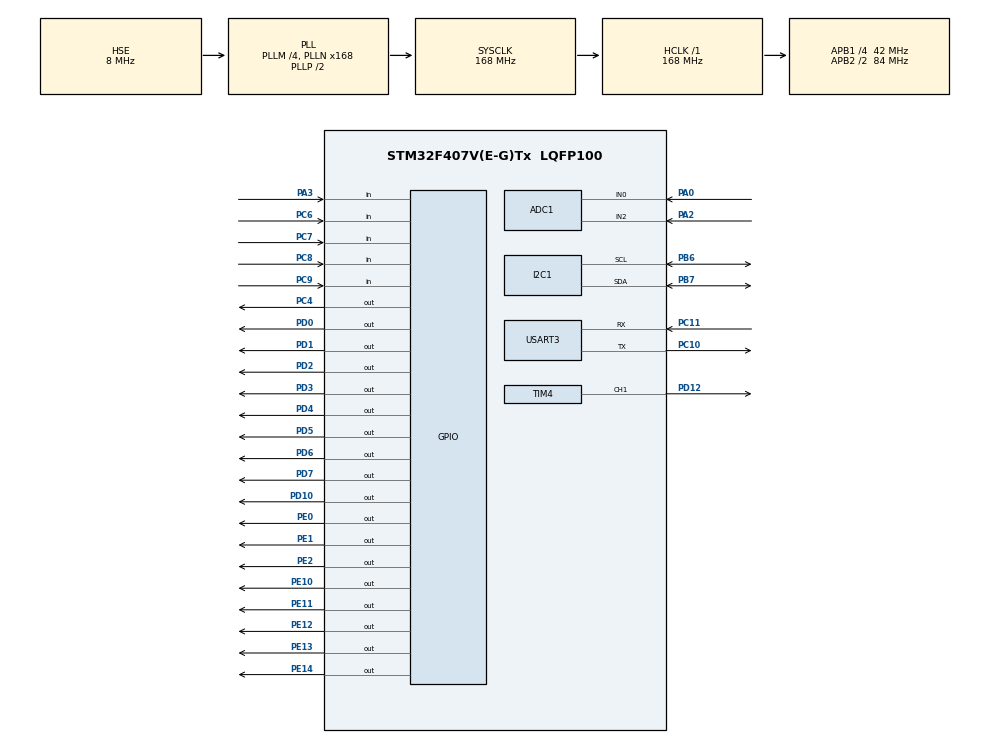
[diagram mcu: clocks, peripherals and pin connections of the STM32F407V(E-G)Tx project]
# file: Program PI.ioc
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ADC1.Channel-0\#ChannelRegularConversion=ADC_CHANNEL_0
ADC1.ContinuousConvMode=DISABLE
ADC1.DMAContinuousRequests=DISABLE
ADC1.NbrOfConversion=1
ADC1.NbrOfConversionFlag=1
ADC1.Rank-0\#ChannelRegularConversion=1
ADC1.SamplingTime-0\#ChannelRegularConversion=ADC_SAMPLETIME_480CYCLES
ADC1.ScanConvMode=DISABLE
ADC1.master=1
Mcu.Family=STM32F4
Mcu.Name=STM32F407V(E-G)Tx
Mcu.Package=LQFP100
NVIC.PriorityGroup=NVIC_PRIORITYGROUP_4
PA0-WKUP.Signal=ADCx_IN0
PA13.Mode=Serial_Wire
PA13.Signal=SYS_JTMS-SWDIO
PA14.Mode=Serial_Wire
PA14.Signal=SYS_JTCK-SWCLK
PA2.Signal=ADCx_IN2
PA3.GPIO_PuPd=GPIO_PULLUP
PA3.Signal=GPIO_Input
PB6.Mode=I2C
PB6.Signal=I2C1_SCL
PB7.Mode=I2C
PB7.Signal=I2C1_SDA
PC10.Mode=Asynchronous
PC10.Signal=USART3_TX
PC11.Mode=Asynchronous
PC11.Signal=USART3_RX
PC4.GPIO_PuPd=GPIO_PULLUP
PC4.Signal=GPIO_Output
PC6.Signal=GPIO_Input
PC7.Signal=GPIO_Input
PC8.Signal=GPIO_Input
PC9.Signal=GPIO_Input
PD0.Signal=GPIO_Output
PD1.Signal=GPIO_Output
PD10.Signal=GPIO_Output
PD12.GPIO_Speed=GPIO_SPEED_FREQ_VERY_HIGH
PD12.Signal=S_TIM4_CH1
PD2.Signal=GPIO_Output
PD3.Signal=GPIO_Output
PD4.Signal=GPIO_Output
PD5.Signal=GPIO_Output
PD6.Signal=GPIO_Output
PD7.Signal=GPIO_Output
PE0.Signal=GPIO_Output
PE1.Signal=GPIO_Output
PE10.Signal=GPIO_Output
PE11.Signal=GPIO_Output
PE12.Signal=GPIO_Output
PE13.GPIO_PuPd=GPIO_PULLUP
PE13.PinState=GPIO_PIN_RESET
PE13.Signal=GPIO_Output
PE14.Signal=GPIO_Output
PE2.Signal=GPIO_Output
PH0-OSC_IN.Mode=HSE-External-Oscillator
PH0-OSC_IN.Signal=RCC_OSC_IN
PH1-OSC_OUT.Mode=HSE-External-Oscillator
PH1-OSC_OUT.Signal=RCC_OSC_OUT
ProjectManager.HeapSize=0x200
ProjectManager.StackSize=0x400
ProjectManager.TargetToolchain=MDK-ARM V5
RCC.48MHZClocksFreq_Value=84000000
RCC.AHBFreq_Value=168000000
RCC.APB1CLKDivider=RCC_HCLK_DIV4
RCC.APB1Freq_Value=42000000
RCC.APB1TimFreq_Value=84000000
RCC.APB2CLKDivider=RCC_HCLK_DIV2
RCC.APB2Freq_Value=84000000
RCC.APB2TimFreq_Value=168000000
RCC.CortexFreq_Value=168000000
RCC.HCLKFreq_Value=168000000
RCC.HSE_VALUE=8000000
RCC.HSI_VALUE=16000000
RCC.LSE_VALUE=32768
RCC.PLLM=4
RCC.PLLN=168
RCC.PLLSourceVirtual=RCC_PLLSOURCE_HSE
RCC.SYSCLKFreq_VALUE=168000000
RCC.SYSCLKSource=RCC_SYSCLKSOURCE_PLLCLK
RCC.VCOOutputFreq_Value=336000000
SH.ADCx_IN0.0=ADC1_IN0,IN0
SH.ADCx_IN2.0=ADC1_IN2,IN2
SH.S_TIM4_CH1.0=TIM4_CH1,PWM Generation1 CH1
TIM4.Channel-PWM\ Generation1\ CH1=TIM_CHANNEL_1
TIM4.Period=2099
TIM4.Pulse-PWM\ Generation1\ CH1=5000
USART3.VirtualMode=VM_ASYNC
board=TUGAS AKHIR MOHAMMAD AGUNG DIRMAWAN

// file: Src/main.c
/* USER CODE BEGIN Header */
/**
  ******************************************************************************
  * @file           : main.c
  * @brief          : Main program body
  ******************************************************************************
  * @attention
  *
  * Copyright (c) 2023 STMicroelectronics.
  * All rights reserved.
  *
  * This software is licensed under terms that can be found in the LICENSE file
  * in the root directory of this software component.
  * If no LICENSE file comes with this software, it is provided AS-IS.
  *
  ******************************************************************************
  */
/* USER CODE END Header */
#include "main.h"

/* USER CODE BEGIN Includes */
#include "string.h"
#include "i2c-lcd.h"
#include <math.h>
#include <stdio.h>
/* USER CODE END Includes */

/* USER CODE BEGIN PD */
#define MIN 0
#define MAX 1

#define OFF -1
#define CC 0
#define CV 1
/* USER CODE END PD */

ADC_HandleTypeDef hadc1;

I2C_HandleTypeDef hi2c1;

TIM_HandleTypeDef htim4;

UART_HandleTypeDef huart3;

/* USER CODE BEGIN PV */
float current_A, current_ADC, voltage_V, voltage_ADC;
int accu_class, charge_mode;
double setpoint;

//PID Params
//format:
//			CC	| CV
//0=low,
//1=med,
//2=high
double KP_now, KI_now, KD_now;
const double KP[3][2]= {
    { 0.0065, 0.0065}, //CC, CV
    {0.007, 0.0092},
    {0.0005, 0.0078}
};
const double KI[3][2]= {
    { 0.03125,  0.03125},
    { 0.0375, 0.05},
    {0.05625, 0.075}
};
const double KD[3][2]= {
    {0, 0},
    {0, 0},
    {0, 0}
};

double Lerr = 0.0, Derr = 0.0, Ierr = 0.0, error=0, output = 0.0;
unsigned long prev_time, prev_lcd_time, prev_mode_time;

/* INISISALISASI USART */
unsigned int len;
int8_t buffer[100];

//Range identifikasi kelas
const double voltage_range[3][2]= {
    {3.75, 4.37},	//low
    {5.75, 6.37},	//med
    {11.51, 12.73}	//high
};

const double voltage_setpoint[3]= {
    4.8,
    7,
    13.8
};

const double voltage_syarat[3]= {
    4.5,
    6.7,
    13.5
};

const double current_setpoint[3]= {
    0.67,
    0.7,
    0.72
};

/* USER CODE END PV */

void SystemClock_Config(void);
static void MX_GPIO_Init(void);
static void MX_ADC1_Init(void);
static void MX_TIM4_Init(void);
static void MX_USART3_UART_Init(void);
static void MX_I2C1_Init(void);
/* USER CODE BEGIN PFP */
float getADCAvg(uint32_t channel, int sample, ADC_HandleTypeDef* hadc);
double PID(double input);
void reset_error();
void baca_sensor();
void print_lcd();
void drive_sepic(float percent);
void data_logger();
float adcToVolt(float adc);
/* USER CODE END PFP */

/* USER CODE BEGIN 0 */
float pwmval=0;
/* USER CODE END 0 */

int main(void)
{

    /* MCU Configuration--------------------------------------------------------*/

    /* Reset of all peripherals, Initializes the Flash interface and the Systick. */
    HAL_Init();

    /* Configure the system clock */
    SystemClock_Config();

    /* Initialize all configured peripherals */
    MX_GPIO_Init();
    MX_ADC1_Init();
    MX_TIM4_Init();
    MX_USART3_UART_Init();
    MX_I2C1_Init();
    /* USER CODE BEGIN 2 */
    //start timer 4 (pwm)
    HAL_TIM_Base_Start(&htim4);
    HAL_TIM_PWM_Start(&htim4,TIM_CHANNEL_1);

    //LCD
    HAL_Delay(50);
    lcd_init();
    HAL_Delay(50);

	lcd_clear();

    lcd_send_cmd(0x80 | 0x40); //  lcd_setCursor(0,1)
    len = snprintf((char *)buffer, 50, "Battery Charging");
    lcd_send_string((char *)buffer);
    HAL_Delay(2000);

    //start pwm
    drive_sepic(0);
    accu_class=-1;

    //stop sistem
    HAL_GPIO_WritePin(GPIOD, GPIO_PIN_10, GPIO_PIN_RESET);
    charge_mode = OFF;

    int len = snprintf((char*)buffer, 100,"CLEARDATA\r\nLABEL,TIME, Started Time,Data Register1, data2\r\nRESETTIMER");

    prev_lcd_time = HAL_GetTick();
    prev_mode_time = HAL_GetTick();

    //HAL_GPIO_WritePin(GPIOD, GPIO_PIN_10, GPIO_PIN_SET);//NYALA

    /* USER CODE END 2 */

    /* Infinite loop */
    /* USER CODE BEGIN WHILE */
    while (1)
    {
        baca_sensor();
        print_lcd();

        /* IDENTIFIKASI JENIS AKI*/
        if(HAL_GPIO_ReadPin(GPIOA, GPIO_PIN_3)==GPIO_PIN_RESET) {
//			pwmval+=0.1;
//			drive_sepic(pwmval);

			lcd_clear();
			//baris 1
			lcd_send_cmd(0x80 | 0x00); //  lcd_setCursor(0,0);
			len = snprintf((char *)buffer, 50, "Cek Jenis Baterai");
			lcd_send_string((char *)buffer);

            // Stop sistem
            HAL_GPIO_WritePin(GPIOD, GPIO_PIN_10, GPIO_PIN_RESET);
            pwmval=0;
            drive_sepic(pwmval);
            HAL_Delay(5000);
            charge_mode=OFF;
            baca_sensor();
            reset_error();

            if(voltage_V > voltage_range[0][MIN] && voltage_V < voltage_range[0][MAX]) accu_class=0;
            else if(voltage_V > voltage_range[1][MIN] && voltage_V < voltage_range[1][MAX]) accu_class=1;
            else if(voltage_V > voltage_range[2][MIN] && voltage_V < voltage_range[2][MAX]) accu_class=2;
            else accu_class=-1;
        }

        /* CHARGING AKI */
        else {
            /* JENIS AKI TELAH TERIDENTIFIKASI */
            if (accu_class != -1)
            {
                /* TENTUKAN MODE CHARGING*/
                // Tegangan belum memenuhi setpoint ==> CC Charging
                if(voltage_V < voltage_syarat[accu_class]) {
                    if(charge_mode!=CC) {
						//reset_error();
						charge_mode=CC;
						prev_time=HAL_GetTick();
						prev_mode_time=HAL_GetTick();
						//Ierr=7;

						setpoint=current_setpoint[accu_class];
						KP_now=KP[accu_class][CC];
						KI_now=KI[accu_class][CC];
						KD_now=KD[accu_class][CC];

						// Start sistem
						HAL_GPIO_WritePin(GPIOD, GPIO_PIN_10, GPIO_PIN_SET);
                    }
					output = PID(current_A);
					pwmval=output;
					drive_sepic(output);
                }
                // Arus masih besar (diatas 10% dari setpoint) ==> CV Charging
                else if(current_A > current_setpoint[accu_class]*0.1) {
                    if(charge_mode!=CV) {
						//reset_error();
						prev_time=HAL_GetTick();
						prev_mode_time=HAL_GetTick();
						charge_mode=CV;
						//Ierr=13;

						setpoint=voltage_setpoint[accu_class];
						KP_now=KP[accu_class][CV];
						KI_now=KI[accu_class][CV];
						KD_now=KD[accu_class][CV];

						// Start sistem
						HAL_GPIO_WritePin(GPIOD, GPIO_PIN_10, GPIO_PIN_SET);
                    }
					output = PID(voltage_V);
					pwmval=output;
					drive_sepic(output);
                }
                // Arus sudah kecil
                else {
                    // Stop sistem
                    HAL_GPIO_WritePin(GPIOD, GPIO_PIN_10, GPIO_PIN_RESET);
                    charge_mode=OFF;
                    HAL_Delay(5000);
                }
            }
        }
    }
    /* USER CODE END WHILE */

}

void SystemClock_Config(void)
{
    RCC_OscInitTypeDef RCC_OscInitStruct = {0};
    RCC_ClkInitTypeDef RCC_ClkInitStruct = {0};

    /** Configure the main internal regulator output voltage
    */
    __HAL_RCC_PWR_CLK_ENABLE();
    __HAL_PWR_VOLTAGESCALING_CONFIG(PWR_REGULATOR_VOLTAGE_SCALE1);

    /** Initializes the RCC Oscillators according to the specified parameters
    * in the RCC_OscInitTypeDef structure.
    */
    RCC_OscInitStruct.OscillatorType = RCC_OSCILLATORTYPE_HSE;
    RCC_OscInitStruct.HSEState = RCC_HSE_ON;
    RCC_OscInitStruct.PLL.PLLState = RCC_PLL_ON;
    RCC_OscInitStruct.PLL.PLLSource = RCC_PLLSOURCE_HSE;
    RCC_OscInitStruct.PLL.PLLM = 4;
    RCC_OscInitStruct.PLL.PLLN = 168;
    RCC_OscInitStruct.PLL.PLLP = RCC_PLLP_DIV2;
    RCC_OscInitStruct.PLL.PLLQ = 4;
    if (HAL_RCC_OscConfig(&RCC_OscInitStruct) != HAL_OK)
    {
        Error_Handler();
    }

    /** Initializes the CPU, AHB and APB buses clocks
    */
    RCC_ClkInitStruct.ClockType = RCC_CLOCKTYPE_HCLK|RCC_CLOCKTYPE_SYSCLK
                                  |RCC_CLOCKTYPE_PCLK1|RCC_CLOCKTYPE_PCLK2;
    RCC_ClkInitStruct.SYSCLKSource = RCC_SYSCLKSOURCE_PLLCLK;
    RCC_ClkInitStruct.AHBCLKDivider = RCC_SYSCLK_DIV1;
    RCC_ClkInitStruct.APB1CLKDivider = RCC_HCLK_DIV4;
    RCC_ClkInitStruct.APB2CLKDivider = RCC_HCLK_DIV2;

    if (HAL_RCC_ClockConfig(&RCC_ClkInitStruct, FLASH_LATENCY_5) != HAL_OK)
    {
        Error_Handler();
    }
}

static void MX_ADC1_Init(void)
{

    ADC_ChannelConfTypeDef sConfig = {0};

    /** Configure the global features of the ADC (Clock, Resolution, Data Alignment and number of conversion)
    */
    hadc1.Instance = ADC1;
    hadc1.Init.ClockPrescaler = ADC_CLOCK_SYNC_PCLK_DIV4;
    hadc1.Init.Resolution = ADC_RESOLUTION_12B;
    hadc1.Init.ScanConvMode = DISABLE;
    hadc1.Init.ContinuousConvMode = DISABLE;
    hadc1.Init.DiscontinuousConvMode = DISABLE;
    hadc1.Init.ExternalTrigConvEdge = ADC_EXTERNALTRIGCONVEDGE_NONE;
    hadc1.Init.ExternalTrigConv = ADC_SOFTWARE_START;
    hadc1.Init.DataAlign = ADC_DATAALIGN_RIGHT;
    hadc1.Init.NbrOfConversion = 1;
    hadc1.Init.DMAContinuousRequests = DISABLE;
    hadc1.Init.EOCSelection = ADC_EOC_SINGLE_CONV;
    if (HAL_ADC_Init(&hadc1) != HAL_OK)
    {
        Error_Handler();
    }

    /** Configure for the selected ADC regular channel its corresponding rank in the sequencer and its sample time.
    */
    sConfig.Channel = ADC_CHANNEL_0;
    sConfig.Rank = 1;
    sConfig.SamplingTime = ADC_SAMPLETIME_480CYCLES;
    if (HAL_ADC_ConfigChannel(&hadc1, &sConfig) != HAL_OK)
    {
        Error_Handler();
    }

}

static void MX_I2C1_Init(void)
{

    hi2c1.Instance = I2C1;
    hi2c1.Init.ClockSpeed = 100000;
    hi2c1.Init.DutyCycle = I2C_DUTYCYCLE_2;
    hi2c1.Init.OwnAddress1 = 0;
    hi2c1.Init.AddressingMode = I2C_ADDRESSINGMODE_7BIT;
    hi2c1.Init.DualAddressMode = I2C_DUALADDRESS_DISABLE;
    hi2c1.Init.OwnAddress2 = 0;
    hi2c1.Init.GeneralCallMode = I2C_GENERALCALL_DISABLE;
    hi2c1.Init.NoStretchMode = I2C_NOSTRETCH_DISABLE;
    if (HAL_I2C_Init(&hi2c1) != HAL_OK)
    {
        Error_Handler();
    }

}

static void MX_TIM4_Init(void)
{

    TIM_MasterConfigTypeDef sMasterConfig = {0};
    TIM_OC_InitTypeDef sConfigOC = {0};

    htim4.Instance = TIM4;
    htim4.Init.Prescaler = 0;
    htim4.Init.CounterMode = TIM_COUNTERMODE_UP;
    htim4.Init.Period = 2099;
    htim4.Init.ClockDivision = TIM_CLOCKDIVISION_DIV1;
    htim4.Init.AutoReloadPreload = TIM_AUTORELOAD_PRELOAD_DISABLE;
    if (HAL_TIM_PWM_Init(&htim4) != HAL_OK)
    {
        Error_Handler();
    }
    sMasterConfig.MasterOutputTrigger = TIM_TRGO_RESET;
    sMasterConfig.MasterSlaveMode = TIM_MASTERSLAVEMODE_DISABLE;
    if (HAL_TIMEx_MasterConfigSynchronization(&htim4, &sMasterConfig) != HAL_OK)
    {
        Error_Handler();
    }
    sConfigOC.OCMode = TIM_OCMODE_PWM1;
    sConfigOC.Pulse = 5000;
    sConfigOC.OCPolarity = TIM_OCPOLARITY_HIGH;
    sConfigOC.OCFastMode = TIM_OCFAST_DISABLE;
    if (HAL_TIM_PWM_ConfigChannel(&htim4, &sConfigOC, TIM_CHANNEL_1) != HAL_OK)
    {
        Error_Handler();
    }
    HAL_TIM_MspPostInit(&htim4);

}

static void MX_USART3_UART_Init(void)
{

    huart3.Instance = USART3;
    huart3.Init.BaudRate = 115200;
    huart3.Init.WordLength = UART_WORDLENGTH_8B;
    huart3.Init.StopBits = UART_STOPBITS_1;
    huart3.Init.Parity = UART_PARITY_NONE;
    huart3.Init.Mode = UART_MODE_TX_RX;
    huart3.Init.HwFlowCtl = UART_HWCONTROL_NONE;
    huart3.Init.OverSampling = UART_OVERSAMPLING_16;
    if (HAL_UART_Init(&huart3) != HAL_OK)
    {
        Error_Handler();
    }

}

static void MX_GPIO_Init(void)
{
    GPIO_InitTypeDef GPIO_InitStruct = {0};

    /* GPIO Ports Clock Enable */
    __HAL_RCC_GPIOE_CLK_ENABLE();
    __HAL_RCC_GPIOH_CLK_ENABLE();
    __HAL_RCC_GPIOA_CLK_ENABLE();
    __HAL_RCC_GPIOC_CLK_ENABLE();
    __HAL_RCC_GPIOD_CLK_ENABLE();
    __HAL_RCC_GPIOB_CLK_ENABLE();

    /*Configure GPIO pin Output Level */
    HAL_GPIO_WritePin(GPIOE, GPIO_PIN_2|GPIO_PIN_10|GPIO_PIN_11|GPIO_PIN_12
                      |GPIO_PIN_13|GPIO_PIN_14|GPIO_PIN_0|GPIO_PIN_1, GPIO_PIN_RESET);

    /*Configure GPIO pin Output Level */
    HAL_GPIO_WritePin(GPIOC, GPIO_PIN_4, GPIO_PIN_RESET);

    /*Configure GPIO pin Output Level */
    HAL_GPIO_WritePin(GPIOD, GPIO_PIN_10|GPIO_PIN_0|GPIO_PIN_1|GPIO_PIN_2
                      |GPIO_PIN_3|GPIO_PIN_4|GPIO_PIN_5|GPIO_PIN_6
                      |GPIO_PIN_7, GPIO_PIN_RESET);

    /*Configure GPIO pins : PE2 PE10 PE11 PE12
                             PE14 PE0 PE1 */
    GPIO_InitStruct.Pin = GPIO_PIN_2|GPIO_PIN_10|GPIO_PIN_11|GPIO_PIN_12
                          |GPIO_PIN_14|GPIO_PIN_0|GPIO_PIN_1;
    GPIO_InitStruct.Mode = GPIO_MODE_OUTPUT_PP;
    GPIO_InitStruct.Pull = GPIO_NOPULL;
    GPIO_InitStruct.Speed = GPIO_SPEED_FREQ_LOW;
    HAL_GPIO_Init(GPIOE, &GPIO_InitStruct);

    /*Configure GPIO pin : PA3 */
    GPIO_InitStruct.Pin = GPIO_PIN_3;
    GPIO_InitStruct.Mode = GPIO_MODE_INPUT;
    GPIO_InitStruct.Pull = GPIO_PULLUP;
    HAL_GPIO_Init(GPIOA, &GPIO_InitStruct);

    /*Configure GPIO pin : PC4 */
    GPIO_InitStruct.Pin = GPIO_PIN_4;
    GPIO_InitStruct.Mode = GPIO_MODE_OUTPUT_PP;
    GPIO_InitStruct.Pull = GPIO_PULLUP;
    GPIO_InitStruct.Speed = GPIO_SPEED_FREQ_LOW;
    HAL_GPIO_Init(GPIOC, &GPIO_InitStruct);

    /*Configure GPIO pin : PE13 */
    GPIO_InitStruct.Pin = GPIO_PIN_13;
    GPIO_InitStruct.Mode = GPIO_MODE_OUTPUT_PP;
    GPIO_InitStruct.Pull = GPIO_PULLUP;
    GPIO_InitStruct.Speed = GPIO_SPEED_FREQ_LOW;
    HAL_GPIO_Init(GPIOE, &GPIO_InitStruct);

    /*Configure GPIO pins : PD10 PD0 PD1 PD2
                             PD3 PD4 PD5 PD6
                             PD7 */
    GPIO_InitStruct.Pin = GPIO_PIN_10|GPIO_PIN_0|GPIO_PIN_1|GPIO_PIN_2
                          |GPIO_PIN_3|GPIO_PIN_4|GPIO_PIN_5|GPIO_PIN_6
                          |GPIO_PIN_7;
    GPIO_InitStruct.Mode = GPIO_MODE_OUTPUT_PP;
    GPIO_InitStruct.Pull = GPIO_NOPULL;
    GPIO_InitStruct.Speed = GPIO_SPEED_FREQ_LOW;
    HAL_GPIO_Init(GPIOD, &GPIO_InitStruct);

    /*Configure GPIO pins : PC6 PC7 PC8 PC9 */
    GPIO_InitStruct.Pin = GPIO_PIN_6|GPIO_PIN_7|GPIO_PIN_8|GPIO_PIN_9;
    GPIO_InitStruct.Mode = GPIO_MODE_INPUT;
    GPIO_InitStruct.Pull = GPIO_NOPULL;
    HAL_GPIO_Init(GPIOC, &GPIO_InitStruct);

}

/* USER CODE BEGIN 4 */
double PID(double input)
{
    double output_pid;
    unsigned long now = HAL_GetTick();

    double delta_time = (now - prev_time) / 1000.0;
    if (delta_time == 0) {
        // Handle the case when delta_time is zero, for example, by setting it to a small value
        delta_time = 0.001;  // or any other small value that makes sense in your application
    }
    prev_time = now;

    error = setpoint - input;

    // Error
    Derr = (error - Lerr) / delta_time;
    Ierr += (error * delta_time);
    Lerr = error;  // Simpan error saat ini untuk  iterasi berikutnya

    // Anti-windup
    if(Ierr > 15) Ierr=15;

    output_pid = (KP_now * error) + (KI_now * Ierr) + (KD_now * Derr);

    // CLAMPING 0.1-0.55
    if (output_pid > 0.55) {
        output_pid = 0.55;
    } else if (output_pid < 0.1) {
        output_pid = 0.1;
    }
    return output_pid;
}

void reset_error() {
    Lerr = 0.0;
    Derr = 0.0;
    Ierr = 0.0;
}

void baca_sensor() {
    current_ADC= getADCAvg(ADC_CHANNEL_2, 50, &hadc1);
    current_A= adcToVolt(fabs(3696.0-current_ADC))/0.185;

    voltage_ADC= getADCAvg(ADC_CHANNEL_0, 50, &hadc1);
    //voltage_V= (0.0081*voltage_ADC) -0.0175 ;
    voltage_V=(0.008187*voltage_ADC) + 0.0004849;
}

float getADCAvg(uint32_t channel, int sample, ADC_HandleTypeDef* hadc)
{
    /*
     * channel = ADC_CHANNEL_0
     */
    //KONFIGURASI ADC
    ADC_ChannelConfTypeDef sConfig = {0};
    sConfig.Channel = channel;
    sConfig.Rank = 1;
    sConfig.SamplingTime = ADC_SAMPLETIME_480CYCLES;
    if (HAL_ADC_ConfigChannel(hadc, &sConfig) != HAL_OK)
    {
        Error_Handler();
    }
    HAL_Delay(75);
    //HAL_ADCEx_Calibration_Start(hadc);

    //SAMPLING ADC
    float adcVal = 0;
    HAL_ADC_Start(hadc);
    HAL_ADC_PollForConversion(hadc, 100);
    HAL_ADC_Start(hadc);
    HAL_ADC_PollForConversion(hadc, 100);
    HAL_ADC_Start(hadc);
    HAL_ADC_PollForConversion(hadc, 100);

    for (int i = 0; i < sample; i++)
    {
        HAL_ADC_Start(hadc);
        HAL_ADC_PollForConversion(hadc, 100);
        adcVal += HAL_ADC_GetValue(hadc);
    }
    HAL_ADC_Stop(hadc);
    adcVal /= sample;
    return adcVal;
}
void print_lcd() {
    if(HAL_GetTick() - prev_lcd_time > 500) {
        lcd_clear();
        //baris 1
        lcd_send_cmd(0x80 | 0x00); //  lcd_setCursor(0,0);
        len = snprintf((char *)buffer, 50, "Teg:%.2fV  ADC:%.f", voltage_V, voltage_ADC);
        lcd_send_string((char *)buffer);

        //baris 2
        lcd_send_cmd(0x80 | 0x40); //  lcd_setCursor(0,1)
        len = snprintf((char *)buffer, 50, "Arus:%.2fA ADC:%.f", current_A, current_ADC);
        lcd_send_string((char *)buffer);

        float daya = current_A*voltage_V;
        //baris 3
        lcd_send_cmd(0x80 | 0x14); //	lcd_setCursor(0,2);
        len = snprintf((char *)buffer, 50, "Daya:%.2fW", daya);
        lcd_send_string((char *)buffer);

        lcd_send_cmd(0x80 | 0x54); //	lcd_setCursor(0,3);
		switch(accu_class){
			case 0:
				len = snprintf((char *)buffer, 50, "bt:4v");
				break;

			case 1:
				len = snprintf((char *)buffer, 50, "bt:7v");
				break;
			case 2:
				len = snprintf((char *)buffer, 50, "bt:12v");
				break;
			default:
				len = snprintf((char *)buffer, 50, "bt:???");
		}
        lcd_send_string((char *)buffer);

		switch(charge_mode){
			case 0:
				len = snprintf((char *)buffer, 50, " CC");
				break;

			case 1:
				len = snprintf((char *)buffer, 50, " CV");
				break;

			default:
				len = snprintf((char *)buffer, 50, " OFF");
		}
        lcd_send_string((char *)buffer);

		len = snprintf((char *)buffer, 50, " PID:%.2f", pwmval);
        lcd_send_string((char *)buffer);

        prev_lcd_time = HAL_GetTick();
    }
}

void drive_sepic(float percent) {
    float maxPWM=2100;
    TIM4->CCR1= maxPWM-(maxPWM * percent);
    //TIM4->CCR1= (maxPWM * percent);
}
void data_logger() {
    int len = snprintf((char*)buffer, 100,"");
    HAL_UART_Transmit(&huart3, (uint8_t*)buffer, len, 100);

}
float adcToVolt(float adc) {
    return (adc/4095.0)*3.0;
}
/* USER CODE END 4 */

void Error_Handler(void)
{
    while(1)
    {
    }
}
